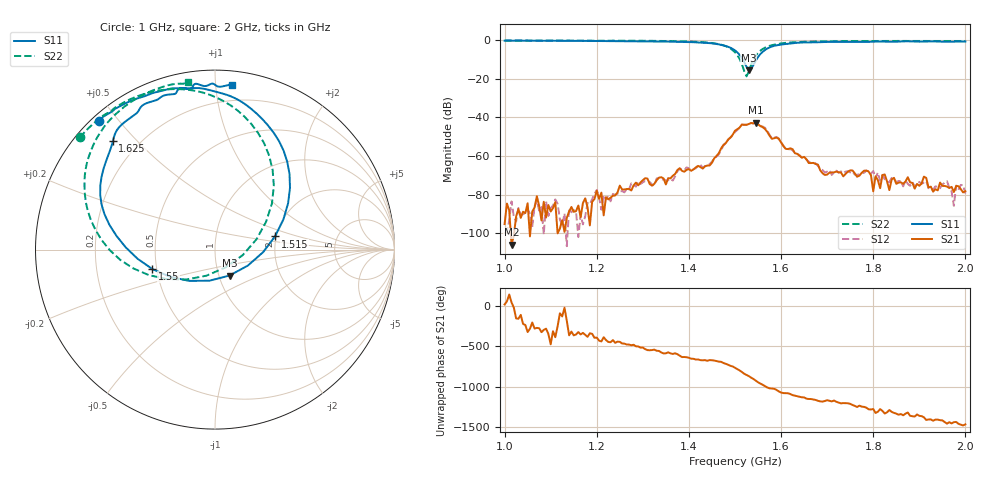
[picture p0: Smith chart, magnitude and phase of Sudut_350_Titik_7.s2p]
# Hz S RI R 50
! CMT, C1220, 16058040, 17.2.0/1
! Date: 14/08/2018 12:17:24
! Data: Format (Calibration Info)
! Freq  S11: Re/Im (F2)  S21: Re/Im (F2)  S12: Re/Im (F2)  S22: Re/Im (F2)
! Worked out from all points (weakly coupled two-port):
!   201 points, 1 GHz to 2 GHz, reference 50 ohm
!   highest |S21| = -42.71 dB at 1.545 GHz (marker M1); lowest = -105.9 dB at 1.015 GHz (marker M2)
!   lowest |S11| = -15.6 dB at 1.53 GHz (marker M3), VSWR 1.40, Z = 56.2 - j16.7 ohm
!   |S11| at or under -10 dB: 1.517 GHz to 1.547 GHz (30.07 MHz wide, 1.96 % of centre)
!   |S22| runs from -18.8 to -0.2 dB; largest |S21 - S12| = 0.00039
!   S11 on the Smith chart (normalised r, x): 1 GHz: 0.02, +0.44; 1.515 GHz: 1.97, +0.33; 1.55 GHz: 0.47, -0.12; 1.625 GHz: 0.11, +0.43; 2 GHz: 0.09, +1.11
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1e9  -0.6487 0.7145  1.67e-05 3.99e-06  -9.21e-06 3.37e-06  -0.7538 0.6248
1.015e9  -0.6321 0.7279  3.96e-06 3.12e-06  -5.13e-05 4.24e-05  -0.7433 0.6364
1.17e9  -0.481 0.8234  5.55e-05 2.35e-05  1.59e-05 -5.61e-06  -0.617 0.7504
1.335e9  -0.2232 0.8987  -0.000259 9.02e-05  -0.00025 9.95e-05  -0.4008 0.8651
1.445e9  0.1511 0.8213  0.00038 0.00042  0.000484 0.000377  -0.00952 0.8546
1.5e9  0.4178 0.3442  0.00308 -0.0033  0.0028 -0.00312  0.3279 0.3542
1.515e9  0.3341 0.0734  -0.00099 -0.00642  -0.000788 -0.00643  0.2312 0.0574
1.53e9  0.0811 -0.1443  -0.00576 -0.00345  -0.00582 -0.0035  -0.0479 -0.1454
1.545e9  -0.2517 -0.1509  -0.00667 0.00301  -0.0066 0.00275  -0.3697 -0.1417
1.55e9  -0.3493 -0.1082  -0.0047 0.0047  -0.00488 0.0044  -0.4567 -0.104
1.625e9  -0.569 0.6031  0.00137 -0.000594  0.0013 -0.000539  -0.702 0.5211
1.67e9  -0.4502 0.7486  0.000152 -0.000643  0.000177 -0.000628  -0.6258 0.6723
1.79e9  -0.2159 0.8735  -0.000375 0.000121  -0.000399 5.44e-05  -0.4391 0.8404
1.8e9  -0.2089 0.8872  -0.000118 3.01e-05  -0.000387 0.000124  -0.4249 0.8488
1.805e9  -0.2037 0.8933  -0.000134 0.000265  -0.000212 0.000155  -0.4178 0.8531
1.815e9  -0.1882 0.8996  -0.00014 3.94e-05  -0.00021 8.56e-05  -0.404 0.8602
1.825e9  -0.1664 0.8976  -0.000113 0.000311  -0.000192 0.000155  -0.3905 0.8667
1.835e9  -0.1445 0.8925  -0.000117 5.79e-05  -0.000123 0.000173  -0.3774 0.8734
1.845e9  -0.1313 0.8932  -0.000127 0.00024  -9.15e-05 0.000233  -0.3638 0.8799
1.91e9  -0.0388 0.9154  0.00013 0.000261  0.000142 0.000148  -0.2727 0.9128
1.93e9  -0.0125 0.9249  0.000111 4.25e-05  0.000122 6.13e-05  -0.2439 0.9195
2e9  0.0956 0.9147  0.000112 -4.9e-05  9.59e-05 -4.65e-05  -0.1529 0.9329
